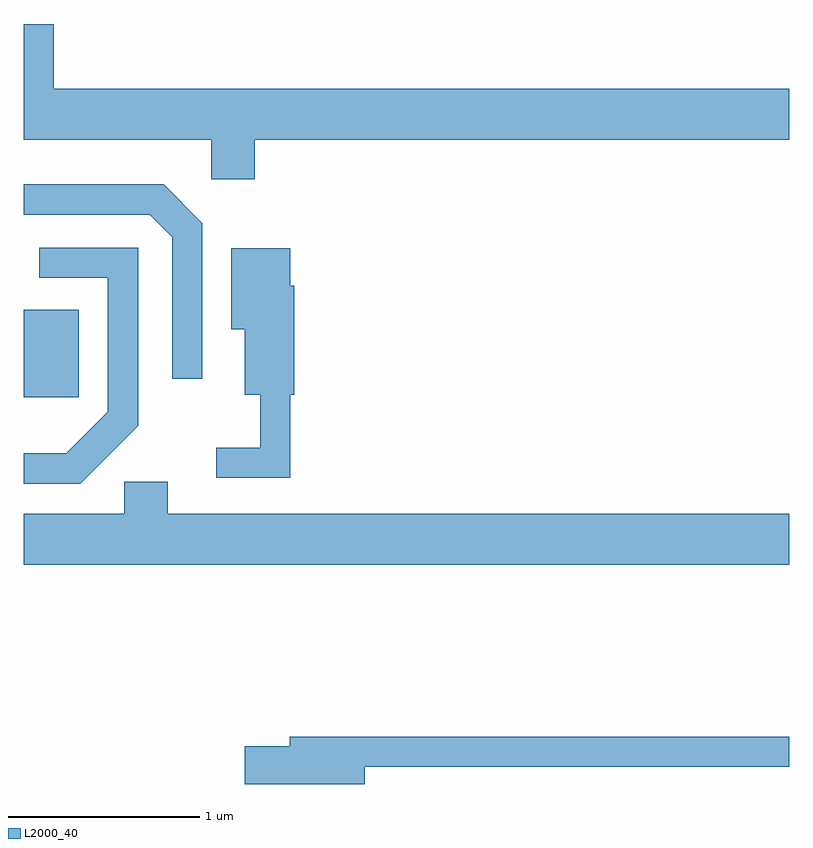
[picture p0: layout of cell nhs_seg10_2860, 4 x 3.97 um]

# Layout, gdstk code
import gdstk
lib = gdstk.Library(unit=1e-6, precision=1e-09)
def R(c, l, rs):  # rectangles x0, y0, x1, y1
    for r in rs: c.add(gdstk.rectangle(r[:2], r[2:], *l))
def P(c, l, *ps):  # polygons
    for p in ps: c.add(gdstk.Polygon(p, *l))
L2000_40 = (2000, 40)

nhs_seg10_2860 = lib.new_cell('nhs_seg10_2860')
R(nhs_seg10_2860, L2000_40, [(269.611,2112.571,269.899,2113.029)])
P(nhs_seg10_2860, L2000_40, [(270.819,2113.916),(273.611,2113.916),(273.611,2114.184),(269.769,2114.184),(269.769,2114.522),(269.611,2114.522),(269.611,2113.916),(270.591,2113.916),(270.591,2113.711),(270.819,2113.711)],
  [(270.544,2113.482),(270.342,2113.684),(269.611,2113.684),(269.611,2113.526),(270.269,2113.526),(270.386,2113.409),(270.386,2112.668),(270.544,2112.668)],
  [(270.209,2112.424),(270.209,2113.354),(269.693,2113.354),(269.693,2113.196),(270.051,2113.196),(270.051,2112.497),(269.834,2112.279),(269.611,2112.279),(269.611,2112.121),(269.907,2112.121)],
  [(271.004,2112.586),(271.024,2112.586),(271.024,2113.154),(271.004,2113.154),(271.004,2113.349),(270.696,2113.349),(270.696,2112.926),(270.766,2112.926),(270.766,2112.586),(270.846,2112.586),(270.846,2112.309),(270.618,2112.309),(270.618,2112.151),(271.004,2112.151)],
  [(273.611,2111.964),(270.364,2111.964),(270.364,2112.129),(270.136,2112.129),(270.136,2111.964),(269.611,2111.964),(269.611,2111.696),(273.611,2111.696)],
  [(271.394,2110.641),(273.611,2110.641),(273.611,2110.799),(271.001,2110.799),(271.001,2110.749),(270.766,2110.749),(270.766,2110.551),(271.394,2110.551)])

lib.write_gds('nhs_seg10_2860.gds')
